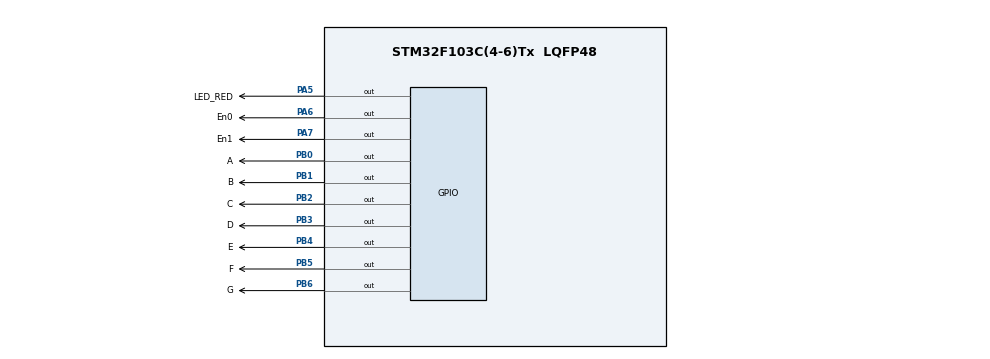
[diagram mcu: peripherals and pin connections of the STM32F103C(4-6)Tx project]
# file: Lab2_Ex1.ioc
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Mcu.Family=STM32F1
Mcu.Name=STM32F103C(4-6)Tx
Mcu.Package=LQFP48
NVIC.PriorityGroup=NVIC_PRIORITYGROUP_4
NVIC.TIM2_IRQn=true\:0\:0\:false\:false\:true\:true\:true
PA5.GPIO_Label=LED_RED
PA5.Signal=GPIO_Output
PA6.GPIO_Label=En0
PA6.Signal=GPIO_Output
PA7.GPIO_Label=En1
PA7.Signal=GPIO_Output
PB0.GPIO_Label=A
PB0.Signal=GPIO_Output
PB1.GPIO_Label=B
PB1.Signal=GPIO_Output
PB2.GPIO_Label=C
PB2.Signal=GPIO_Output
PB3.GPIO_Label=D
PB3.Signal=GPIO_Output
PB4.GPIO_Label=E
PB4.Signal=GPIO_Output
PB5.GPIO_Label=F
PB5.Signal=GPIO_Output
PB6.GPIO_Label=G
PB6.Signal=GPIO_Output
ProjectManager.HeapSize=0x200
ProjectManager.StackSize=0x400
ProjectManager.TargetToolchain=STM32CubeIDE
RCC.APB1Freq_Value=8000000
RCC.APB2Freq_Value=8000000
TIM2.Period=9
TIM2.Prescaler=7999
VP_SYS_VS_ND.Mode=No_Debug
VP_TIM2_VS_ClockSourceINT.Mode=Internal
board=custom

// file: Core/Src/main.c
/* USER CODE BEGIN Header */
/**
  ******************************************************************************
  * @file           : main.c
  * @brief          : Main program body
  ******************************************************************************
  * @attention
  *
  * <h2><center>&copy; Copyright (c) 2023 STMicroelectronics.
  * All rights reserved.</center></h2>
  *
  * This software component is licensed by ST under BSD 3-Clause license,
  * the "License"; You may not use this file except in compliance with the
  * License. You may obtain a copy of the License at:
  *                        opensource.org/licenses/BSD-3-Clause
  *
  ******************************************************************************
  */
/* USER CODE END Header */
#include "main.h"

TIM_HandleTypeDef htim2;

void SystemClock_Config(void);
static void MX_GPIO_Init(void);
static void MX_TIM2_Init(void);

/* USER CODE BEGIN 0 */
void display7SEG(int num) {
	switch(num) {
		case 0:
			HAL_GPIO_WritePin(A_GPIO_Port,A_Pin,RESET);
			HAL_GPIO_WritePin(B_GPIO_Port,B_Pin,RESET);
			HAL_GPIO_WritePin(C_GPIO_Port,C_Pin,RESET);
			HAL_GPIO_WritePin(D_GPIO_Port,D_Pin,RESET);
			HAL_GPIO_WritePin(E_GPIO_Port,E_Pin,RESET);
			HAL_GPIO_WritePin(F_GPIO_Port,F_Pin,RESET);
			HAL_GPIO_WritePin(G_GPIO_Port,G_Pin,SET);
			break;

		case 1:
			HAL_GPIO_WritePin(A_GPIO_Port,A_Pin,SET);
			HAL_GPIO_WritePin(B_GPIO_Port,B_Pin,RESET);
			HAL_GPIO_WritePin(C_GPIO_Port,C_Pin,RESET);
			HAL_GPIO_WritePin(D_GPIO_Port,D_Pin,SET);
			HAL_GPIO_WritePin(E_GPIO_Port,E_Pin,SET);
			HAL_GPIO_WritePin(F_GPIO_Port,F_Pin,SET);
			HAL_GPIO_WritePin(G_GPIO_Port,G_Pin,SET);
			break;

		case 2:
			HAL_GPIO_WritePin(A_GPIO_Port,A_Pin,RESET);
			HAL_GPIO_WritePin(B_GPIO_Port,B_Pin,RESET);
			HAL_GPIO_WritePin(C_GPIO_Port,C_Pin,SET);
			HAL_GPIO_WritePin(D_GPIO_Port,D_Pin,RESET);
			HAL_GPIO_WritePin(E_GPIO_Port,E_Pin,RESET);
			HAL_GPIO_WritePin(F_GPIO_Port,F_Pin,SET);
			HAL_GPIO_WritePin(G_GPIO_Port,G_Pin,RESET);
			break;

		case 3:
			HAL_GPIO_WritePin(A_GPIO_Port,A_Pin,RESET);
			HAL_GPIO_WritePin(B_GPIO_Port,B_Pin,RESET);
			HAL_GPIO_WritePin(C_GPIO_Port,C_Pin,RESET);
			HAL_GPIO_WritePin(D_GPIO_Port,D_Pin,RESET);
			HAL_GPIO_WritePin(E_GPIO_Port,E_Pin,SET);
			HAL_GPIO_WritePin(F_GPIO_Port,F_Pin,SET);
			HAL_GPIO_WritePin(G_GPIO_Port,G_Pin,RESET);
			break;

		case 4:
			HAL_GPIO_WritePin(A_GPIO_Port,A_Pin,SET);
			HAL_GPIO_WritePin(B_GPIO_Port,B_Pin,RESET);
			HAL_GPIO_WritePin(C_GPIO_Port,C_Pin,RESET);
			HAL_GPIO_WritePin(D_GPIO_Port,D_Pin,SET);
			HAL_GPIO_WritePin(E_GPIO_Port,E_Pin,SET);
			HAL_GPIO_WritePin(F_GPIO_Port,F_Pin,RESET);
			HAL_GPIO_WritePin(G_GPIO_Port,G_Pin,RESET);
			break;

		case 5:
			HAL_GPIO_WritePin(A_GPIO_Port,A_Pin,RESET);
			HAL_GPIO_WritePin(B_GPIO_Port,B_Pin,SET);
			HAL_GPIO_WritePin(C_GPIO_Port,C_Pin,RESET);
			HAL_GPIO_WritePin(D_GPIO_Port,D_Pin,RESET);
			HAL_GPIO_WritePin(E_GPIO_Port,E_Pin,SET);
			HAL_GPIO_WritePin(F_GPIO_Port,F_Pin,RESET);
			HAL_GPIO_WritePin(G_GPIO_Port,G_Pin,RESET);
			break;

		case 6:
			HAL_GPIO_WritePin(A_GPIO_Port,A_Pin,RESET);
			HAL_GPIO_WritePin(B_GPIO_Port,B_Pin,SET);
			HAL_GPIO_WritePin(C_GPIO_Port,C_Pin,RESET);
			HAL_GPIO_WritePin(D_GPIO_Port,D_Pin,RESET);
			HAL_GPIO_WritePin(E_GPIO_Port,E_Pin,RESET);
			HAL_GPIO_WritePin(F_GPIO_Port,F_Pin,RESET);
			HAL_GPIO_WritePin(G_GPIO_Port,G_Pin,RESET);
			break;

		case 7:
			HAL_GPIO_WritePin(A_GPIO_Port,A_Pin,RESET);
			HAL_GPIO_WritePin(B_GPIO_Port,B_Pin,RESET);
			HAL_GPIO_WritePin(C_GPIO_Port,C_Pin,RESET);
			HAL_GPIO_WritePin(D_GPIO_Port,D_Pin,SET);
			HAL_GPIO_WritePin(E_GPIO_Port,E_Pin,SET);
			HAL_GPIO_WritePin(F_GPIO_Port,F_Pin,SET);
			HAL_GPIO_WritePin(G_GPIO_Port,G_Pin,SET);
			break;

		case 8:
			HAL_GPIO_WritePin(A_GPIO_Port,A_Pin,RESET);
			HAL_GPIO_WritePin(B_GPIO_Port,B_Pin,RESET);
			HAL_GPIO_WritePin(C_GPIO_Port,C_Pin,RESET);
			HAL_GPIO_WritePin(D_GPIO_Port,D_Pin,RESET);
			HAL_GPIO_WritePin(E_GPIO_Port,E_Pin,RESET);
			HAL_GPIO_WritePin(F_GPIO_Port,F_Pin,RESET);
			HAL_GPIO_WritePin(G_GPIO_Port,G_Pin,RESET);
			break;

		case 9:
			HAL_GPIO_WritePin(A_GPIO_Port,A_Pin,RESET);
			HAL_GPIO_WritePin(B_GPIO_Port,B_Pin,RESET);
			HAL_GPIO_WritePin(C_GPIO_Port,C_Pin,RESET);
			HAL_GPIO_WritePin(D_GPIO_Port,D_Pin,RESET);
			HAL_GPIO_WritePin(E_GPIO_Port,E_Pin,SET);
			HAL_GPIO_WritePin(F_GPIO_Port,F_Pin,RESET);
			HAL_GPIO_WritePin(G_GPIO_Port,G_Pin,RESET);
			break;

		default:
			HAL_GPIO_WritePin(A_GPIO_Port,A_Pin,RESET);
			HAL_GPIO_WritePin(B_GPIO_Port,B_Pin,RESET);
			HAL_GPIO_WritePin(C_GPIO_Port,C_Pin,RESET);
			HAL_GPIO_WritePin(D_GPIO_Port,D_Pin,RESET);
			HAL_GPIO_WritePin(E_GPIO_Port,E_Pin,RESET);
			HAL_GPIO_WritePin(F_GPIO_Port,F_Pin,RESET);
			HAL_GPIO_WritePin(G_GPIO_Port,G_Pin,RESET);
	}
}
/* USER CODE END 0 */

int main(void)
{

  /* MCU Configuration--------------------------------------------------------*/

  /* Reset of all peripherals, Initializes the Flash interface and the Systick. */
  HAL_Init();

  /* Configure the system clock */
  SystemClock_Config();

  /* Initialize all configured peripherals */
  MX_GPIO_Init();
  MX_TIM2_Init();
  /* USER CODE BEGIN 2 */
  HAL_TIM_Base_Start_IT(&htim2);

  /* USER CODE END 2 */

  /* Infinite loop */
  while (1)
  {

  }
}

void SystemClock_Config(void)
{
  RCC_OscInitTypeDef RCC_OscInitStruct = {0};
  RCC_ClkInitTypeDef RCC_ClkInitStruct = {0};

  /** Initializes the RCC Oscillators according to the specified parameters
  * in the RCC_OscInitTypeDef structure.
  */
  RCC_OscInitStruct.OscillatorType = RCC_OSCILLATORTYPE_HSI;
  RCC_OscInitStruct.HSIState = RCC_HSI_ON;
  RCC_OscInitStruct.HSICalibrationValue = RCC_HSICALIBRATION_DEFAULT;
  RCC_OscInitStruct.PLL.PLLState = RCC_PLL_NONE;
  if (HAL_RCC_OscConfig(&RCC_OscInitStruct) != HAL_OK)
  {
    Error_Handler();
  }
  /** Initializes the CPU, AHB and APB buses clocks
  */
  RCC_ClkInitStruct.ClockType = RCC_CLOCKTYPE_HCLK|RCC_CLOCKTYPE_SYSCLK
                              |RCC_CLOCKTYPE_PCLK1|RCC_CLOCKTYPE_PCLK2;
  RCC_ClkInitStruct.SYSCLKSource = RCC_SYSCLKSOURCE_HSI;
  RCC_ClkInitStruct.AHBCLKDivider = RCC_SYSCLK_DIV1;
  RCC_ClkInitStruct.APB1CLKDivider = RCC_HCLK_DIV1;
  RCC_ClkInitStruct.APB2CLKDivider = RCC_HCLK_DIV1;

  if (HAL_RCC_ClockConfig(&RCC_ClkInitStruct, FLASH_LATENCY_0) != HAL_OK)
  {
    Error_Handler();
  }
}

static void MX_TIM2_Init(void)
{

  TIM_ClockConfigTypeDef sClockSourceConfig = {0};
  TIM_MasterConfigTypeDef sMasterConfig = {0};

  htim2.Instance = TIM2;
  htim2.Init.Prescaler = 7999;
  htim2.Init.CounterMode = TIM_COUNTERMODE_UP;
  htim2.Init.Period = 9;
  htim2.Init.ClockDivision = TIM_CLOCKDIVISION_DIV1;
  htim2.Init.AutoReloadPreload = TIM_AUTORELOAD_PRELOAD_DISABLE;
  if (HAL_TIM_Base_Init(&htim2) != HAL_OK)
  {
    Error_Handler();
  }
  sClockSourceConfig.ClockSource = TIM_CLOCKSOURCE_INTERNAL;
  if (HAL_TIM_ConfigClockSource(&htim2, &sClockSourceConfig) != HAL_OK)
  {
    Error_Handler();
  }
  sMasterConfig.MasterOutputTrigger = TIM_TRGO_RESET;
  sMasterConfig.MasterSlaveMode = TIM_MASTERSLAVEMODE_DISABLE;
  if (HAL_TIMEx_MasterConfigSynchronization(&htim2, &sMasterConfig) != HAL_OK)
  {
    Error_Handler();
  }

}

static void MX_GPIO_Init(void)
{
  GPIO_InitTypeDef GPIO_InitStruct = {0};

  /* GPIO Ports Clock Enable */
  __HAL_RCC_GPIOA_CLK_ENABLE();
  __HAL_RCC_GPIOB_CLK_ENABLE();

  /*Configure GPIO pin Output Level */
  HAL_GPIO_WritePin(GPIOA, LED_RED_Pin|En0_Pin|En1_Pin, GPIO_PIN_RESET);

  /*Configure GPIO pin Output Level */
  HAL_GPIO_WritePin(GPIOB, A_Pin|B_Pin|C_Pin|D_Pin
                          |E_Pin|F_Pin|G_Pin, GPIO_PIN_RESET);

  /*Configure GPIO pins : LED_RED_Pin En0_Pin En1_Pin */
  GPIO_InitStruct.Pin = LED_RED_Pin|En0_Pin|En1_Pin;
  GPIO_InitStruct.Mode = GPIO_MODE_OUTPUT_PP;
  GPIO_InitStruct.Pull = GPIO_NOPULL;
  GPIO_InitStruct.Speed = GPIO_SPEED_FREQ_LOW;
  HAL_GPIO_Init(GPIOA, &GPIO_InitStruct);

  /*Configure GPIO pins : A_Pin B_Pin C_Pin D_Pin
                           E_Pin F_Pin G_Pin */
  GPIO_InitStruct.Pin = A_Pin|B_Pin|C_Pin|D_Pin
                          |E_Pin|F_Pin|G_Pin;
  GPIO_InitStruct.Mode = GPIO_MODE_OUTPUT_PP;
  GPIO_InitStruct.Pull = GPIO_NOPULL;
  GPIO_InitStruct.Speed = GPIO_SPEED_FREQ_LOW;
  HAL_GPIO_Init(GPIOB, &GPIO_InitStruct);

}

/* USER CODE BEGIN 4 */
int counter = 50;
int enable = 0;
void HAL_TIM_PeriodElapsedCallback(TIM_HandleTypeDef *htim){
	counter--;
	if(counter <= 0){
		counter = 50;
		if(enable == 0){
			display7SEG(1);
			HAL_GPIO_WritePin(En0_GPIO_Port, En0_Pin, RESET);
			HAL_GPIO_WritePin(En1_GPIO_Port, En1_Pin, SET);
			enable = 1;
		} else {
			display7SEG(2);
			HAL_GPIO_WritePin(En0_GPIO_Port, En0_Pin, SET);
			HAL_GPIO_WritePin(En1_GPIO_Port, En1_Pin, RESET);
			enable = 0;
		}
		HAL_GPIO_TogglePin(LED_RED_GPIO_Port, LED_RED_Pin);
	}
}
/* USER CODE END 4 */

void Error_Handler(void)
{
  __disable_irq();
  while (1)
  {
  }
}

/************************ (C) COPYRIGHT STMicroelectronics *****END OF FILE****/
